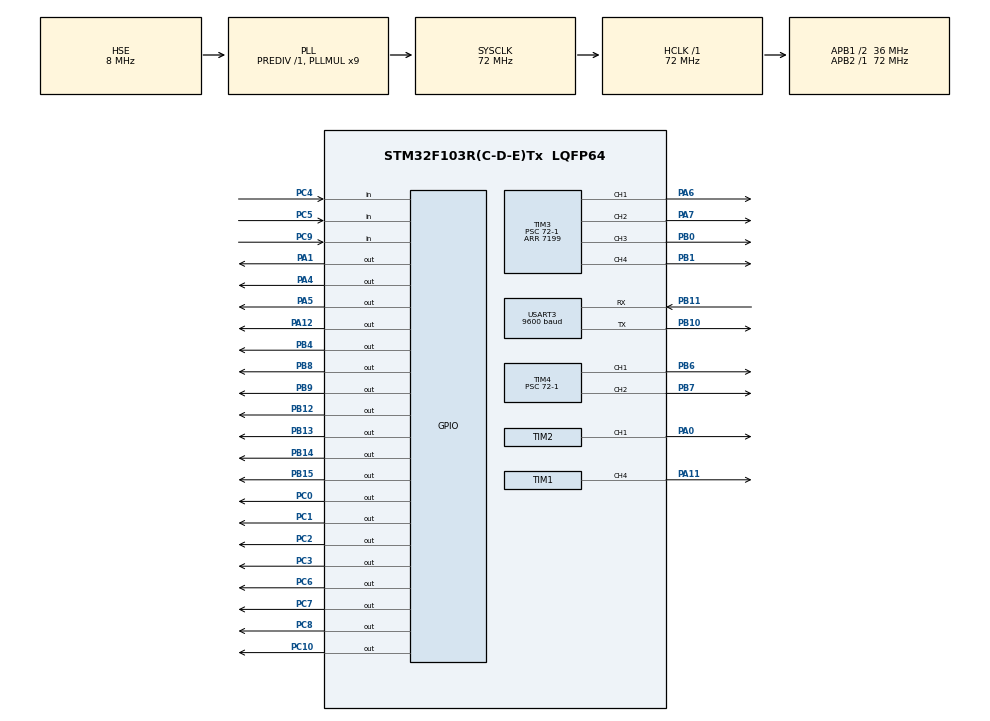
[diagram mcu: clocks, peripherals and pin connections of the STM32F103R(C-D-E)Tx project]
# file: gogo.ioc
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Mcu.Family=STM32F1
Mcu.Name=STM32F103R(C-D-E)Tx
Mcu.Package=LQFP64
NVIC.PriorityGroup=NVIC_PRIORITYGROUP_4
NVIC.TIM2_IRQn=true\:0\:0\:false\:false\:true\:true\:true\:true
NVIC.USART3_IRQn=true\:0\:0\:false\:false\:true\:true\:true\:true
PA0-WKUP.Signal=S_TIM2_CH1_ETR
PA1.Signal=GPIO_Output
PA11.Signal=S_TIM1_CH4
PA12.Signal=GPIO_Output
PA13.Mode=Serial_Wire
PA13.Signal=SYS_JTMS-SWDIO
PA14.Mode=Serial_Wire
PA14.Signal=SYS_JTCK-SWCLK
PA4.Signal=GPIO_Output
PA5.Signal=GPIO_Output
PA6.Signal=S_TIM3_CH1
PA7.Signal=S_TIM3_CH2
PB0.Signal=S_TIM3_CH3
PB1.Signal=S_TIM3_CH4
PB10.Mode=Asynchronous
PB10.Signal=USART3_TX
PB11.Mode=Asynchronous
PB11.Signal=USART3_RX
PB12.Signal=GPIO_Output
PB13.Signal=GPIO_Output
PB14.Signal=GPIO_Output
PB15.Signal=GPIO_Output
PB4.Signal=GPIO_Output
PB6.Signal=S_TIM4_CH1
PB7.Signal=S_TIM4_CH2
PB8.Signal=GPIO_Output
PB9.Signal=GPIO_Output
PC0.Signal=GPIO_Output
PC1.Signal=GPIO_Output
PC10.Signal=GPIO_Output
PC2.Signal=GPIO_Output
PC3.Signal=GPIO_Output
PC4.GPIO_PuPd=GPIO_PULLDOWN
PC4.Signal=GPIO_Input
PC5.GPIO_PuPd=GPIO_PULLDOWN
PC5.Signal=GPIO_Input
PC6.Signal=GPIO_Output
PC7.Signal=GPIO_Output
PC8.Signal=GPIO_Output
PC9.GPIO_PuPd=GPIO_PULLDOWN
PC9.Signal=GPIO_Input
PD0-OSC_IN.Mode=HSE-External-Oscillator
PD0-OSC_IN.Signal=RCC_OSC_IN
PD1-OSC_OUT.Mode=HSE-External-Oscillator
PD1-OSC_OUT.Signal=RCC_OSC_OUT
ProjectManager.HeapSize=0x200
ProjectManager.StackSize=0x400
ProjectManager.TargetToolchain=CMake
RCC.AHBFreq_Value=72000000
RCC.APB1CLKDivider=RCC_HCLK_DIV2
RCC.APB1Freq_Value=36000000
RCC.APB1TimFreq_Value=72000000
RCC.APB2Freq_Value=72000000
RCC.APB2TimFreq_Value=72000000
RCC.HCLKFreq_Value=72000000
RCC.PLLMUL=RCC_PLL_MUL9
RCC.PLLSourceVirtual=RCC_PLLSOURCE_HSE
RCC.SYSCLKFreq_VALUE=72000000
RCC.SYSCLKSource=RCC_SYSCLKSOURCE_PLLCLK
RCC.USBFreq_Value=72000000
SH.S_TIM1_CH4.0=TIM1_CH4,PWM Generation4 CH4
SH.S_TIM2_CH1_ETR.0=TIM2_CH1,PWM Generation1 CH1
SH.S_TIM3_CH1.0=TIM3_CH1,PWM Generation1 CH1
SH.S_TIM3_CH2.0=TIM3_CH2,PWM Generation2 CH2
SH.S_TIM3_CH3.0=TIM3_CH3,PWM Generation3 CH3
SH.S_TIM3_CH4.0=TIM3_CH4,PWM Generation4 CH4
SH.S_TIM4_CH1.0=TIM4_CH1,PWM Generation1 CH1
SH.S_TIM4_CH2.0=TIM4_CH2,PWM Generation2 CH2
TIM1.Channel-PWM\ Generation4\ CH4=TIM_CHANNEL_4
TIM1.Period=7199
TIM1.Prescaler=0
TIM2.Channel-PWM\ Generation1\ CH1=TIM_CHANNEL_1
TIM2.Period=1000-1
TIM2.Prescaler=72-1
TIM2.Pulse-PWM\ Generation1\ CH1=500
TIM3.Channel-PWM\ Generation1\ CH1=TIM_CHANNEL_1
TIM3.Channel-PWM\ Generation2\ CH2=TIM_CHANNEL_2
TIM3.Channel-PWM\ Generation3\ CH3=TIM_CHANNEL_3
TIM3.Channel-PWM\ Generation4\ CH4=TIM_CHANNEL_4
TIM3.Period=7199
TIM3.Prescaler=72-1
TIM4.Channel-PWM\ Generation1\ CH1=TIM_CHANNEL_1
TIM4.Channel-PWM\ Generation2\ CH2=TIM_CHANNEL_2
TIM4.Period=20000-1
TIM4.Prescaler=72-1
TIM4.Pulse-PWM\ Generation1\ CH1=1500
USART3.BaudRate=9600
USART3.VirtualMode=VM_ASYNC
VP_TIM1_VS_ClockSourceINT.Mode=Internal
VP_TIM2_VS_ClockSourceINT.Mode=Internal
VP_TIM3_VS_ClockSourceINT.Mode=Internal
board=custom

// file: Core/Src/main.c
/* USER CODE BEGIN Header */
/**
  ******************************************************************************
  * @file           : main.c
  * @brief          : Main program body
  ******************************************************************************
  * @attention
  *
  * Copyright (c) 2026 STMicroelectronics.
  * All rights reserved.
  *
  * This software is licensed under terms that can be found in the LICENSE file
  * in the root directory of this software component.
  * If no LICENSE file comes with this software, it is provided AS-IS.
  *
  ******************************************************************************
  */
/* USER CODE END Header */
#include "main.h"
#include "tim.h"
#include "usart.h"
#include "gpio.h"

/* USER CODE BEGIN Includes */
#include "motor.h"
#include "servo.h"
#include "step_motor.h"
#include "csb.h"
#include "lanya.h"
/* USER CODE END Includes */

/* USER CODE BEGIN PV */
uint32_t boot_ms = 0;
/* USER CODE END PV */

void SystemClock_Config(void);

/* USER CODE BEGIN 0 */
/* ============================================================================
 * 程序结构说明
 *   上电完成外设初始化后进入主循环，主循环按命令分派：
 *     bt_cmd == CMD_AUTO  ->  AutoAvoid_Run()   自动避障
 *     其它命令            ->  Manual_Run()      手动遥控
 *   上电默认是停车状态（bt_cmd = CMD_STOP），不会自己跑，等蓝牙命令。
 * ========================================================================== */
static uint8_t  avoid_state = 0;   /* 0 = 直行, 1 = 横移中 */
static uint8_t  avoid_dir   = 0;   /* 1 = 左, 2 = 右 */
static uint8_t  avoid_side  = 0;   /* 左右都测不到时交替用 */
static uint32_t avoid_end   = 0;
static uint32_t avoid_start = 0;

/* ----------------------------------------------------------------------------
 * 自动避障：每次调用读一轮三路超声波
 *   直行阶段：三路任意一路发现障碍，先停车 120ms 缓冲，再选方向横移
 *   横移阶段：朝选定方向持续横移，每 200ms 用正前方复查一次
 *   躲开之后才恢复直行，并解锁方向，让下一个障碍可以重新选边
 *   单次横移最长 2.5 秒，超时就停车，避免长时间顶住障碍堵转过流
 * -------------------------------------------------------------------------- */
static void AutoAvoid_Run(void)
{
    /* 三路超声波依次触发，中间留 20ms 间隔，减少相互串扰 */
    float left   = HCSR04_Left();
    HAL_Delay(20);
    float center = HCSR04_Center();
    HAL_Delay(20);
    float right  = HCSR04_Right();
    HAL_Delay(20);

    uint8_t left_hit   = (left   > 0.0f && left   < OBSTACLE_CM);
    uint8_t center_hit = (center > 0.0f && center < OBSTACLE_CM);
    uint8_t right_hit  = (right  > 0.0f && right  < OBSTACLE_CM);

    if (avoid_state == 0)
    {
        if (left_hit || center_hit || right_hit)
        {
            float l = (left  > 0.0f) ? left  : 999.0f;
            float r = (right > 0.0f) ? right : 999.0f;

            if (left_hit && right_hit)
            {
                Car_Stop();
                return;
            }

            /* 选方向：哪边被挡就避开；两边都有有效读数时，选更空的一侧 */
            if (left_hit && !right_hit)       avoid_dir = 2;
            else if (right_hit && !left_hit)  avoid_dir = 1;
            else if (left > 0.0f && right > 0.0f && l > r)  avoid_dir = 1;
            else if (left > 0.0f && right > 0.0f && r > l)  avoid_dir = 2;
            else if (avoid_dir == 0)   /* 完全没信息时才定方向, 有方向就保持不动 */
            {
                avoid_dir   = (avoid_side == 0) ? 1 : 2;
                avoid_side ^= 1;
            }

            /* 换向前先停 120ms 让轮子滑行减速，减小反向冲击电流 */
            Car_Stop();
            HAL_Delay(120);

            avoid_start = HAL_GetTick();
            avoid_state = 1;
            avoid_end   = HAL_GetTick() + 600;
        }
        else
        {
            Car_Forward_Avoid();
        }
    }

    if (avoid_state == 1)
    {
        if (HAL_GetTick() - avoid_start > 2500)
        {
            Car_Stop();
            avoid_state = 0;
            return;
        }

        /* 实测校正：avoid_dir == 1 时实际要向车辆右侧平移 */
        if (avoid_dir == 1) Car_StrafeRight_Slow();
        else                Car_StrafeLeft_Slow();

        if (HAL_GetTick() >= avoid_end)
        {
            float c = HCSR04_Center();

            /* 正前方已经空了，说明躲开了，恢复直行 */
            if (c > CLEAR_CM || c < 0.0f)
            {
                Car_Stop();
                HAL_Delay(120);   /* 同样留出滑行时间，保护电机和电源 */
                avoid_dir   = 0;       /* 这次躲开了, 下次重新选边 */
                avoid_state = 0;
            }

            avoid_end = HAL_GetTick() + 200;
        }
    }
}

/* ----------------------------------------------------------------------------
 * 手动遥控：直接按蓝牙命令驱动底盘
 *   进入手动模式先清掉避障状态，避免上一次的避障状态残留
 * -------------------------------------------------------------------------- */
static void Manual_Run(void)
{
    avoid_state = 0;

    switch (bt_cmd)
    {
    case CMD_FORWARD:      Car_Forward();     break;
    case CMD_BACKWARD:     Car_Backward();    break;
    case CMD_STRAFE_LEFT:  Car_StrafeLeft();  break;
    case CMD_STRAFE_RIGHT: Car_StrafeRight(); break;
    case CMD_TURN_LEFT:    Car_TurnLeft();    break;
    case CMD_TURN_RIGHT:   Car_TurnRight();   break;
		case CMD_TURN_LEFT_SLOW:    Car_TurnLeft_Slow();    break;
    case CMD_TURN_RIGHT_SLOW:   Car_TurnRight_Slow();   break;
    case CMD_STRAFE_LEFT_SLOW:  Car_StrafeLeft_Slow();  break;
    case CMD_STRAFE_RIGHT_SLOW: Car_StrafeRight_Slow(); break;
    case CMD_FORWARD_SLOW:      Car_Forward_Slow();     break;
    case CMD_BACKWARD_SLOW:     Car_Backward_Slow();    break;
    case CMD_STOP:
    default:               Car_Stop();        break;
    }
}
/* USER CODE END 0 */

int main(void)
{

  /* MCU Configuration--------------------------------------------------------*/

  /* Reset of all peripherals, Initializes the Flash interface and the Systick. */
  HAL_Init();

  /* Configure the system clock */
  SystemClock_Config();

  /* Initialize all configured peripherals */
  MX_GPIO_Init();
  MX_TIM1_Init();
  MX_TIM2_Init();
  MX_TIM3_Init();
  MX_TIM4_Init();
  MX_USART3_UART_Init();
  /* USER CODE BEGIN 2 */
  /* 拉高 STBY，使能四路电机驱动板 */
  HAL_GPIO_WritePin(STBY_PORT, STBY_PIN, GPIO_PIN_SET);

 /* 启动四路底盘电机的 PWM（TIM3 的四个通道） */
 HAL_TIM_PWM_Start(&htim3, TIM_CHANNEL_1);
 HAL_TIM_PWM_Start(&htim3, TIM_CHANNEL_2);
 HAL_TIM_PWM_Start(&htim3, TIM_CHANNEL_3);
 HAL_TIM_PWM_Start(&htim3, TIM_CHANNEL_4);

  HAL_TIM_PWM_Start(&htim1, TIM_CHANNEL_4);
 __HAL_TIM_MOE_ENABLE(&htim1);

 /* 启动两路舵机 PWM：TIM4_CH1 是夹爪，TIM4_CH2 是云台 */
 HAL_TIM_PWM_Start(&htim4, TIM_CHANNEL_1);
 Gripper_SetAngle(SERVO_OPEN);   /* 上电夹爪张开 */
 Gripper_SetAngle1(170);         /* 上电云台转到 170 度位 */
 HAL_TIM_PWM_Start(&htim4, TIM_CHANNEL_2);

 /* 记录上电时刻，并打开串口接收中断，开始收蓝牙数据 */
 boot_ms = HAL_GetTick();
 HAL_UART_Receive_IT(&huart3, &bt_rx_byte, 1);

 /* 初始化 DWT 计数器，给超声波测距提供微秒级延时 */
 DWT_Init();

 HAL_TIM_PWM_Start(&htim1, TIM_CHANNEL_4);
 __HAL_TIM_MOE_ENABLE(&htim1);

 Lift_Run(0);          /* 升降电机上电先停住 */

 /* 上电默认停车，等蓝牙命令；步进的初始化保留，该机构最终未使用 */
 bt_cmd = CMD_STOP;
 StepMotor_Init();
  /* USER CODE END 2 */

  /* Infinite loop */
  /* USER CODE BEGIN WHILE */
/* 主循环：自动避障与手动遥控二选一执行 */
while (1)
{
    if (bt_cmd == CMD_AUTO)
    {
        AutoAvoid_Run();
    }
    else
    {
        Manual_Run();
    }

		/* 步进的一次性请求，执行完立刻清零，避免重复转动 */
		if (step_req == 1)
		{
				step_req = 0;
				StepMotor_Rotate120(1);
		}
		else if (step_req == 2)
		{
				step_req = 0;
				StepMotor_Rotate120(0);
		}
    HAL_Delay(20);
}
    /* USER CODE END WHILE */

}

void SystemClock_Config(void)
{
  RCC_OscInitTypeDef RCC_OscInitStruct = {0};
  RCC_ClkInitTypeDef RCC_ClkInitStruct = {0};

  /** Initializes the RCC Oscillators according to the specified parameters
  * in the RCC_OscInitTypeDef structure.
  */
  RCC_OscInitStruct.OscillatorType = RCC_OSCILLATORTYPE_HSE;
  RCC_OscInitStruct.HSEState = RCC_HSE_ON;
  RCC_OscInitStruct.HSEPredivValue = RCC_HSE_PREDIV_DIV1;
  RCC_OscInitStruct.HSIState = RCC_HSI_ON;
  RCC_OscInitStruct.PLL.PLLState = RCC_PLL_ON;
  RCC_OscInitStruct.PLL.PLLSource = RCC_PLLSOURCE_HSE;
  RCC_OscInitStruct.PLL.PLLMUL = RCC_PLL_MUL9;
  if (HAL_RCC_OscConfig(&RCC_OscInitStruct) != HAL_OK)
  {
    Error_Handler();
  }

  /** Initializes the CPU, AHB and APB buses clocks
  */
  RCC_ClkInitStruct.ClockType = RCC_CLOCKTYPE_HCLK|RCC_CLOCKTYPE_SYSCLK
                              |RCC_CLOCKTYPE_PCLK1|RCC_CLOCKTYPE_PCLK2;
  RCC_ClkInitStruct.SYSCLKSource = RCC_SYSCLKSOURCE_PLLCLK;
  RCC_ClkInitStruct.AHBCLKDivider = RCC_SYSCLK_DIV1;
  RCC_ClkInitStruct.APB1CLKDivider = RCC_HCLK_DIV2;
  RCC_ClkInitStruct.APB2CLKDivider = RCC_HCLK_DIV1;

  if (HAL_RCC_ClockConfig(&RCC_ClkInitStruct, FLASH_LATENCY_2) != HAL_OK)
  {
    Error_Handler();
  }
}

void Error_Handler(void)
{
  __disable_irq();
  while (1)
  {
  }
}
